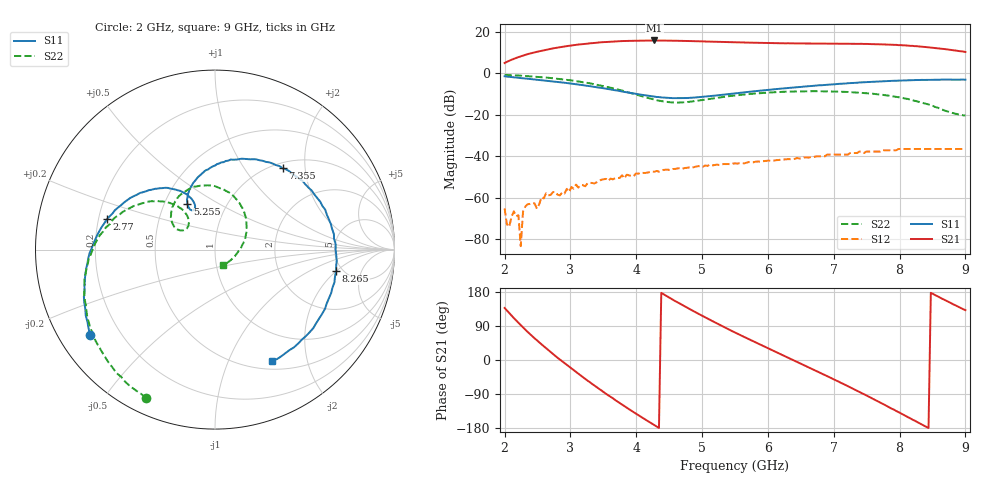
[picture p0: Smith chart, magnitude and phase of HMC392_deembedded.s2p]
!Hittite Microwave Corporation
!12 Elizabeth Drive
!Chelmsford, MA 01824
!Tel: 978-250-3343
!Fax: 978-250-3373
!Device: HMC392, 3.5 - 7 GHz GaAs MMIC LNA
!Misc: Data includes two K connectors, Vdd: 5VDC
# MHZ S MA R 50
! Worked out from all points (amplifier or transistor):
!   201 points, 2 GHz to 9 GHz, reference 50 ohm
!   highest |S21| = 15.8 dB at 4.275 GHz (marker M1)
!   |S21| within 3 dB of that: 2.892 GHz to 8.34 GHz (5.448 GHz wide, 97 % of centre)
!   unconditionally stable (mu >= 1): start of sweep to end of sweep
!   at 3.155 GHz: K = 22.34, MAG = 17.3 dB, |S12| = -53.8 dB
!   at 5.5 GHz: K = 11.01, MAG = 15.7 dB, |S12| = -43.4 dB
!   at 9 GHz: K = 5.21, MAG = 13.2 dB, |S12| = -36.5 dB
!   S11 on the Smith chart (normalised r, x): 2 GHz: 0.09, -0.31; 2.77 GHz: 0.23, +0.13; 5.255 GHz: 0.65, +0.36; 7.355 GHz: 1.10, +1.53; 8.265 GHz: 4.40, -2.00; 9 GHz: 0.60, -1.46
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2000  0.843 -145.7  1.757 137.3  0.0005566 -89.2  0.911 -115.0
2245  0.762 -162.5  2.542 92.1  6.879e-05 109.0  0.87 -131.1
2385  0.725 -171.6  2.962 68.5  0.0007156 -153.9  0.842 -140.6
2770  0.625 164.4  4.028 10.6  0.001391 -179.0  0.748 -166.7
2980  0.57 152.5  4.561 -17.9  0.001385 158.0  0.68 179.6
3190  0.515 141.7  4.995 -45.3  0.002018 131.4  0.602 166.3
3470  0.443 129.0  5.553 -80.2  0.002733 119.6  0.5 150.2
3715  0.381 120.7  5.838 -109.7  0.002986 93.9  0.406 138.6
4030  0.311 114.7  6.044 -145.4  0.003814 76.7  0.295 129.4
4275  0.273 114.3  6.131 -171.8  0.004241 53.0  0.232 130.2
4345  0.266 114.6  6.088 -179.3  0.004269 54.9  0.218 132.1
4835  0.256 120.9  5.921 132.2  0.0052 22.3  0.207 148.8
5255  0.296 121.3  5.684 93.9  0.006197 -3.9  0.259 150.9
5500  0.326 118.2  5.546 72.6  0.006758 -17.3  0.291 146.3
6095  0.411 104.0  5.303 23.2  0.007896 -46.8  0.348 129.7
6690  0.497 83.2  5.163 -25.2  0.009504 -75.0  0.369 110.1
7040  0.548 66.8  5.144 -54.3  0.011 -94.6  0.361 96.8
7355  0.589 50.3  5.077 -81.5  0.012 -111.3  0.343 83.9
7845  0.653 19.9  4.881 -124.7  0.014 -140.7  0.285 59.8
8265  0.685 -10.1  4.459 -163.4  0.015 -168.4  0.211 33.1
8650  0.701 -38.7  3.851 161.3  0.015 168.5  0.133 -2.5
9000  0.697 -63.0  3.243 131.5  0.015 147.1  0.096 -61.3
